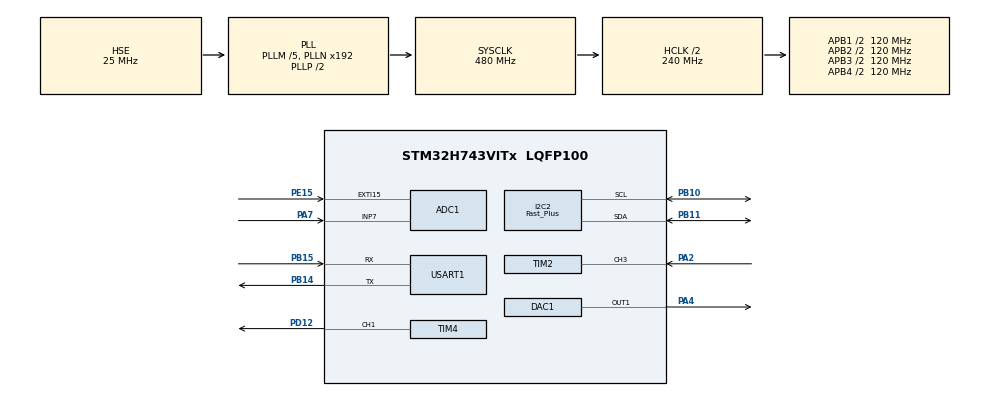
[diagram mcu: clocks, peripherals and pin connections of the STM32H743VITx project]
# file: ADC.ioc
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ADC1.Channel-0\#ChannelRegularConversion=ADC_CHANNEL_7
ADC1.ClockPrescaler=ADC_CLOCK_ASYNC_DIV2
ADC1.ConversionDataManagement=ADC_CONVERSIONDATA_DMA_ONESHOT
ADC1.ExternalTrigConv=ADC_EXTERNALTRIG_T6_TRGO
ADC1.NbrOfConversionFlag=1
ADC1.OffsetNumber-0\#ChannelRegularConversion=ADC_OFFSET_NONE
ADC1.OffsetSignedSaturation-0\#ChannelRegularConversion=DISABLE
ADC1.Rank-0\#ChannelRegularConversion=1
ADC1.SamplingTime-0\#ChannelRegularConversion=ADC_SAMPLETIME_1CYCLE_5
ADC1.master=1
DAC1.DAC_Channel-DAC_OUT1=DAC_CHANNEL_1
DAC1.DAC_Trigger-DAC_OUT1=DAC_TRIGGER_T4_TRGO
Dma.ADC1.0.Direction=DMA_PERIPH_TO_MEMORY
Dma.ADC1.0.EventEnable=DISABLE
Dma.ADC1.0.FIFOMode=DMA_FIFOMODE_DISABLE
Dma.ADC1.0.Instance=DMA1_Stream0
Dma.ADC1.0.MemDataAlignment=DMA_MDATAALIGN_HALFWORD
Dma.ADC1.0.MemInc=DMA_MINC_ENABLE
Dma.ADC1.0.Mode=DMA_NORMAL
Dma.ADC1.0.PeriphDataAlignment=DMA_PDATAALIGN_HALFWORD
Dma.ADC1.0.PeriphInc=DMA_PINC_DISABLE
Dma.ADC1.0.Polarity=HAL_DMAMUX_REQ_GEN_RISING
Dma.ADC1.0.Priority=DMA_PRIORITY_HIGH
Dma.ADC1.0.RequestNumber=1
Dma.ADC1.0.SignalID=NONE
Dma.ADC1.0.SyncEnable=DISABLE
Dma.ADC1.0.SyncPolarity=HAL_DMAMUX_SYNC_NO_EVENT
Dma.ADC1.0.SyncRequestNumber=1
Dma.ADC1.0.SyncSignalID=NONE
Dma.DAC1_CH1.3.Direction=DMA_MEMORY_TO_PERIPH
Dma.DAC1_CH1.3.EventEnable=DISABLE
Dma.DAC1_CH1.3.FIFOMode=DMA_FIFOMODE_DISABLE
Dma.DAC1_CH1.3.Instance=DMA2_Stream0
Dma.DAC1_CH1.3.MemDataAlignment=DMA_MDATAALIGN_BYTE
Dma.DAC1_CH1.3.MemInc=DMA_MINC_ENABLE
Dma.DAC1_CH1.3.Mode=DMA_NORMAL
Dma.DAC1_CH1.3.PeriphDataAlignment=DMA_PDATAALIGN_BYTE
Dma.DAC1_CH1.3.PeriphInc=DMA_PINC_DISABLE
Dma.DAC1_CH1.3.Polarity=HAL_DMAMUX_REQ_GEN_RISING
Dma.DAC1_CH1.3.Priority=DMA_PRIORITY_HIGH
Dma.DAC1_CH1.3.RequestNumber=1
Dma.DAC1_CH1.3.SignalID=NONE
Dma.DAC1_CH1.3.SyncEnable=DISABLE
Dma.DAC1_CH1.3.SyncPolarity=HAL_DMAMUX_SYNC_NO_EVENT
Dma.DAC1_CH1.3.SyncRequestNumber=1
Dma.DAC1_CH1.3.SyncSignalID=NONE
Dma.I2C2_TX.1.Direction=DMA_MEMORY_TO_PERIPH
Dma.I2C2_TX.1.EventEnable=DISABLE
Dma.I2C2_TX.1.FIFOMode=DMA_FIFOMODE_DISABLE
Dma.I2C2_TX.1.Instance=DMA1_Stream1
Dma.I2C2_TX.1.MemDataAlignment=DMA_MDATAALIGN_BYTE
Dma.I2C2_TX.1.MemInc=DMA_MINC_ENABLE
Dma.I2C2_TX.1.Mode=DMA_NORMAL
Dma.I2C2_TX.1.PeriphDataAlignment=DMA_PDATAALIGN_BYTE
Dma.I2C2_TX.1.PeriphInc=DMA_PINC_DISABLE
Dma.I2C2_TX.1.Polarity=HAL_DMAMUX_REQ_GEN_RISING
Dma.I2C2_TX.1.Priority=DMA_PRIORITY_LOW
Dma.I2C2_TX.1.RequestNumber=1
Dma.I2C2_TX.1.SignalID=NONE
Dma.I2C2_TX.1.SyncEnable=DISABLE
Dma.I2C2_TX.1.SyncPolarity=HAL_DMAMUX_SYNC_NO_EVENT
Dma.I2C2_TX.1.SyncRequestNumber=1
Dma.I2C2_TX.1.SyncSignalID=NONE
Dma.Request0=ADC1
Dma.Request1=I2C2_TX
Dma.Request2=TIM2_CH3
Dma.Request3=DAC1_CH1
Dma.Request4=USART1_RX
Dma.TIM2_CH3.2.Direction=DMA_PERIPH_TO_MEMORY
Dma.TIM2_CH3.2.EventEnable=DISABLE
Dma.TIM2_CH3.2.FIFOMode=DMA_FIFOMODE_DISABLE
Dma.TIM2_CH3.2.Instance=DMA1_Stream2
Dma.TIM2_CH3.2.MemDataAlignment=DMA_MDATAALIGN_WORD
Dma.TIM2_CH3.2.MemInc=DMA_MINC_ENABLE
Dma.TIM2_CH3.2.Mode=DMA_CIRCULAR
Dma.TIM2_CH3.2.PeriphDataAlignment=DMA_PDATAALIGN_WORD
Dma.TIM2_CH3.2.PeriphInc=DMA_PINC_DISABLE
Dma.TIM2_CH3.2.Polarity=HAL_DMAMUX_REQ_GEN_RISING
Dma.TIM2_CH3.2.Priority=DMA_PRIORITY_MEDIUM
Dma.TIM2_CH3.2.RequestNumber=1
Dma.TIM2_CH3.2.SignalID=NONE
Dma.TIM2_CH3.2.SyncEnable=DISABLE
Dma.TIM2_CH3.2.SyncPolarity=HAL_DMAMUX_SYNC_NO_EVENT
Dma.TIM2_CH3.2.SyncRequestNumber=1
Dma.TIM2_CH3.2.SyncSignalID=NONE
Dma.USART1_RX.4.Direction=DMA_PERIPH_TO_MEMORY
Dma.USART1_RX.4.EventEnable=DISABLE
Dma.USART1_RX.4.FIFOMode=DMA_FIFOMODE_DISABLE
Dma.USART1_RX.4.Instance=DMA1_Stream3
Dma.USART1_RX.4.MemDataAlignment=DMA_MDATAALIGN_BYTE
Dma.USART1_RX.4.MemInc=DMA_MINC_ENABLE
Dma.USART1_RX.4.Mode=DMA_NORMAL
Dma.USART1_RX.4.PeriphDataAlignment=DMA_PDATAALIGN_BYTE
Dma.USART1_RX.4.PeriphInc=DMA_PINC_DISABLE
Dma.USART1_RX.4.Polarity=HAL_DMAMUX_REQ_GEN_RISING
Dma.USART1_RX.4.Priority=DMA_PRIORITY_LOW
Dma.USART1_RX.4.RequestNumber=1
Dma.USART1_RX.4.SignalID=NONE
Dma.USART1_RX.4.SyncEnable=DISABLE
Dma.USART1_RX.4.SyncPolarity=HAL_DMAMUX_SYNC_NO_EVENT
Dma.USART1_RX.4.SyncRequestNumber=1
Dma.USART1_RX.4.SyncSignalID=NONE
I2C2.I2C_Speed_Mode=I2C_Fast_Plus
I2C2.Timing=0x0050174F
Mcu.Family=STM32H7
Mcu.Name=STM32H743VITx
Mcu.Package=LQFP100
NVIC.ADC_IRQn=true\:0\:0\:false\:false\:true\:true\:true\:true
NVIC.DMA1_Stream0_IRQn=true\:0\:0\:false\:false\:true\:true\:true\:true
NVIC.DMA1_Stream1_IRQn=true\:1\:0\:true\:false\:true\:true\:true\:true
NVIC.DMA1_Stream2_IRQn=true\:0\:0\:false\:false\:true\:true\:true\:true
NVIC.I2C2_EV_IRQn=true\:1\:0\:true\:false\:true\:true\:true\:true
NVIC.PriorityGroup=NVIC_PRIORITYGROUP_3
NVIC.TIM2_IRQn=true\:0\:1\:false\:false\:true\:true\:true\:true
NVIC.USART1_IRQn=true\:2\:0\:true\:false\:true\:true\:true\:true
PA2.Signal=S_TIM2_CH3
PA4.Signal=COMP_DAC11_group
PA7.Signal=ADCx_INP7
PB10.Mode=I2C
PB10.Signal=I2C2_SCL
PB11.Mode=I2C
PB11.Signal=I2C2_SDA
PB14.Mode=Asynchronous
PB14.Signal=USART1_TX
PB15.Mode=Asynchronous
PB15.Signal=USART1_RX
PC14-OSC32_IN\ (OSC32_IN).Mode=LSE-External-Oscillator
PC14-OSC32_IN\ (OSC32_IN).Signal=RCC_OSC32_IN
PC15-OSC32_OUT\ (OSC32_OUT).Mode=LSE-External-Oscillator
PC15-OSC32_OUT\ (OSC32_OUT).Signal=RCC_OSC32_OUT
PD12.Signal=S_TIM4_CH1
PE15.Signal=GPXTI15
PH0-OSC_IN\ (PH0).Mode=HSE-External-Oscillator
PH0-OSC_IN\ (PH0).Signal=RCC_OSC_IN
PH1-OSC_OUT\ (PH1).Mode=HSE-External-Oscillator
PH1-OSC_OUT\ (PH1).Signal=RCC_OSC_OUT
ProjectManager.HeapSize=0x800
ProjectManager.StackSize=0x400
ProjectManager.TargetToolchain=MDK-ARM V5.32
RCC.ADCCLockSelection=RCC_ADCCLKSOURCE_CLKP
RCC.ADCFreq_Value=64000000
RCC.APB1Freq_Value=120000000
RCC.APB2Freq_Value=120000000
RCC.APB3Freq_Value=120000000
RCC.APB4Freq_Value=120000000
RCC.CortexFreq_Value=480000000
RCC.D1PPRE=RCC_APB3_DIV2
RCC.D2PPRE1=RCC_APB1_DIV2
RCC.D2PPRE2=RCC_APB2_DIV2
RCC.D3PPRE=RCC_APB4_DIV2
RCC.DIVM1=5
RCC.DIVM2=16
RCC.DIVN1=192
RCC.DIVN2=97
RCC.HCLKFreq_Value=240000000
RCC.HPRE=RCC_HCLK_DIV2
RCC.PLLSourceVirtual=RCC_PLLSOURCE_HSE
RCC.SYSCLKFreq_VALUE=480000000
RCC.SYSCLKSource=RCC_SYSCLKSOURCE_PLLCLK
RCC.USBFreq_Value=480000000
SH.ADCx_INP7.0=ADC1_INP7,IN7-Single-Ended
SH.COMP_DAC11_group.0=DAC1_OUT1,DAC_OUT1
SH.S_TIM2_CH3.0=TIM2_CH3,Input_Capture3_from_TI3
SH.S_TIM4_CH1.0=TIM4_CH1,PWM Generation1 CH1
TIM2.AutoReloadPreload=TIM_AUTORELOAD_PRELOAD_ENABLE
TIM2.Channel-Input_Capture3_from_TI3=TIM_CHANNEL_3
TIM2.ICFilter_CH3=4
TIM2.Period=300000
TIM2.Prescaler=800
TIM4.AutoReloadPreload=TIM_AUTORELOAD_PRELOAD_ENABLE
TIM4.Channel-PWM\ Generation1\ CH1=TIM_CHANNEL_1
TIM4.Period=10
TIM4.Prescaler=2400
TIM4.Pulse-PWM\ Generation1\ CH1=5
TIM4.TIM_MasterOutputTrigger=TIM_TRGO_UPDATE
TIM6.AutoReloadPreload=TIM_AUTORELOAD_PRELOAD_ENABLE
TIM6.Period=300-1
TIM6.Prescaler=79
TIM6.TIM_MasterOutputTrigger=TIM_TRGO_UPDATE
USART1.VirtualMode-Asynchronous=VM_ASYNC
VP_TIM2_VS_ClockSourceINT.Mode=Internal
VP_TIM4_VS_ClockSourceINT.Mode=Internal
VP_TIM6_VS_ClockSourceINT.Mode=Enable_Timer
board=custom

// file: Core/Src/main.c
/* USER CODE BEGIN Header */
/**
  ******************************************************************************
  * @file           : main.c
  * @brief          : Main program body
  ******************************************************************************
  * @attention
  *
  * Copyright (c) 2025 STMicroelectronics.
  * All rights reserved.
  *
  * This software is licensed under terms that can be found in the LICENSE file
  * in the root directory of this software component.
  * If no LICENSE file comes with this software, it is provided AS-IS.
  *
  ******************************************************************************
  */
/* USER CODE END Header */
#include "main.h"
#include "adc.h"
#include "dac.h"
#include "dma.h"
#include "i2c.h"
#include "tim.h"
#include "usart.h"
#include "gpio.h"

/* USER CODE BEGIN Includes */
#include "OLED.h"
#include "user.h"
#include <stdio.h>
#include <math.h>
/* USER CODE END Includes */

/* USER CODE BEGIN PV */
__attribute__((section(".RAM_D2"))) uint16_t ADC_Values[128];// ADC 数据缓冲区
uint8_t ADC_state = 0;
uint8_t Tim_State = 0;
uint8_t DAC_PWM_state = 0;
/* USER CODE END PV */

void SystemClock_Config(void);
void PeriphCommonClock_Config(void);
/* USER CODE BEGIN PFP */
/* printf 重定向*/
int fputc(int ch, FILE *f) {
   HAL_UART_Transmit(&huart1, (uint8_t *)&ch, 1, 0xFFFF);
   return ch;
}
int fgetc(FILE *f) {
   uint8_t ch = 0;
   HAL_UART_Receive(&huart1, &ch, 1, 0xFFFF);
   return ch;
}

/* USER CODE END PFP */

/* USER CODE BEGIN 0 */
extern uint16_t SinWave_Data[DataNum];
extern uint16_t TrgWave_Data[DataNum];
extern uint8_t USRT_Rx_Buff[20];
/* USER CODE END 0 */

int main(void)
{

  /* MCU Configuration--------------------------------------------------------*/

  /* Reset of all peripherals, Initializes the Flash interface and the Systick. */
  HAL_Init();

  /* Configure the system clock */
  SystemClock_Config();

/* Configure the peripherals common clocks */
  PeriphCommonClock_Config();

  /* Initialize all configured peripherals */
  MX_GPIO_Init();
  MX_DMA_Init();
  MX_ADC1_Init();
  MX_I2C2_Init();
  MX_TIM6_Init();
  MX_USART1_UART_Init();
  MX_TIM2_Init();
  MX_DAC1_Init();
  MX_TIM4_Init();
  /* USER CODE BEGIN 2 */

	/* 定时器相关 */
	uint32_t TimCC_Values1[10];

	OLED_Init();

	HAL_ADCEx_Calibration_Start(&hadc1,ADC_CALIB_OFFSET,ADC_SINGLE_ENDED);//ADC 校准
	HAL_ADC_Start_DMA(&hadc1,(uint32_t *)ADC_Values,128);
	HAL_Delay(10);//解决时序冲突，防止DMA开启之前定时器已经触发多次导致起始数据位置错误
	HAL_TIM_Base_Start(&htim6);

	SinWave_Generate(SinWave_Data);
	TrgWave_Generate(TrgWave_Data);//波形生成
	DAC_PWM_Process();
  /* USER CODE END 2 */

  /* Infinite loop */
  while (1)
  {

    /* USER CODE BEGIN 3 */

		ADC_Process(ADC_Values);
		TIM2_Process(TimCC_Values1,10);
		UART_Process();
		OLED_Update();//更新显存到屏幕
		HAL_Delay(50);
  }
  /* USER CODE END 3 */
}

void SystemClock_Config(void)
{
  RCC_OscInitTypeDef RCC_OscInitStruct = {0};
  RCC_ClkInitTypeDef RCC_ClkInitStruct = {0};

  /** Supply configuration update enable
  */
  HAL_PWREx_ConfigSupply(PWR_LDO_SUPPLY);

  /** Configure the main internal regulator output voltage
  */
  __HAL_PWR_VOLTAGESCALING_CONFIG(PWR_REGULATOR_VOLTAGE_SCALE1);

  while(!__HAL_PWR_GET_FLAG(PWR_FLAG_VOSRDY)) {}

  __HAL_RCC_SYSCFG_CLK_ENABLE();
  __HAL_PWR_VOLTAGESCALING_CONFIG(PWR_REGULATOR_VOLTAGE_SCALE0);

  while(!__HAL_PWR_GET_FLAG(PWR_FLAG_VOSRDY)) {}

  /** Initializes the RCC Oscillators according to the specified parameters
  * in the RCC_OscInitTypeDef structure.
  */
  RCC_OscInitStruct.OscillatorType = RCC_OSCILLATORTYPE_HSI|RCC_OSCILLATORTYPE_HSE;
  RCC_OscInitStruct.HSEState = RCC_HSE_ON;
  RCC_OscInitStruct.HSIState = RCC_HSI_DIV1;
  RCC_OscInitStruct.HSICalibrationValue = RCC_HSICALIBRATION_DEFAULT;
  RCC_OscInitStruct.PLL.PLLState = RCC_PLL_ON;
  RCC_OscInitStruct.PLL.PLLSource = RCC_PLLSOURCE_HSE;
  RCC_OscInitStruct.PLL.PLLM = 5;
  RCC_OscInitStruct.PLL.PLLN = 192;
  RCC_OscInitStruct.PLL.PLLP = 2;
  RCC_OscInitStruct.PLL.PLLQ = 2;
  RCC_OscInitStruct.PLL.PLLR = 2;
  RCC_OscInitStruct.PLL.PLLRGE = RCC_PLL1VCIRANGE_2;
  RCC_OscInitStruct.PLL.PLLVCOSEL = RCC_PLL1VCOWIDE;
  RCC_OscInitStruct.PLL.PLLFRACN = 0;
  if (HAL_RCC_OscConfig(&RCC_OscInitStruct) != HAL_OK)
  {
    Error_Handler();
  }

  /** Initializes the CPU, AHB and APB buses clocks
  */
  RCC_ClkInitStruct.ClockType = RCC_CLOCKTYPE_HCLK|RCC_CLOCKTYPE_SYSCLK
                              |RCC_CLOCKTYPE_PCLK1|RCC_CLOCKTYPE_PCLK2
                              |RCC_CLOCKTYPE_D3PCLK1|RCC_CLOCKTYPE_D1PCLK1;
  RCC_ClkInitStruct.SYSCLKSource = RCC_SYSCLKSOURCE_PLLCLK;
  RCC_ClkInitStruct.SYSCLKDivider = RCC_SYSCLK_DIV1;
  RCC_ClkInitStruct.AHBCLKDivider = RCC_HCLK_DIV2;
  RCC_ClkInitStruct.APB3CLKDivider = RCC_APB3_DIV2;
  RCC_ClkInitStruct.APB1CLKDivider = RCC_APB1_DIV2;
  RCC_ClkInitStruct.APB2CLKDivider = RCC_APB2_DIV2;
  RCC_ClkInitStruct.APB4CLKDivider = RCC_APB4_DIV2;

  if (HAL_RCC_ClockConfig(&RCC_ClkInitStruct, FLASH_LATENCY_4) != HAL_OK)
  {
    Error_Handler();
  }
}

void PeriphCommonClock_Config(void)
{
  RCC_PeriphCLKInitTypeDef PeriphClkInitStruct = {0};

  /** Initializes the peripherals clock
  */
  PeriphClkInitStruct.PeriphClockSelection = RCC_PERIPHCLK_CKPER;
  PeriphClkInitStruct.CkperClockSelection = RCC_CLKPSOURCE_HSI;
  if (HAL_RCCEx_PeriphCLKConfig(&PeriphClkInitStruct) != HAL_OK)
  {
    Error_Handler();
  }
}

void Error_Handler(void)
{
  __disable_irq();
  while (1)
  {
  }
}
